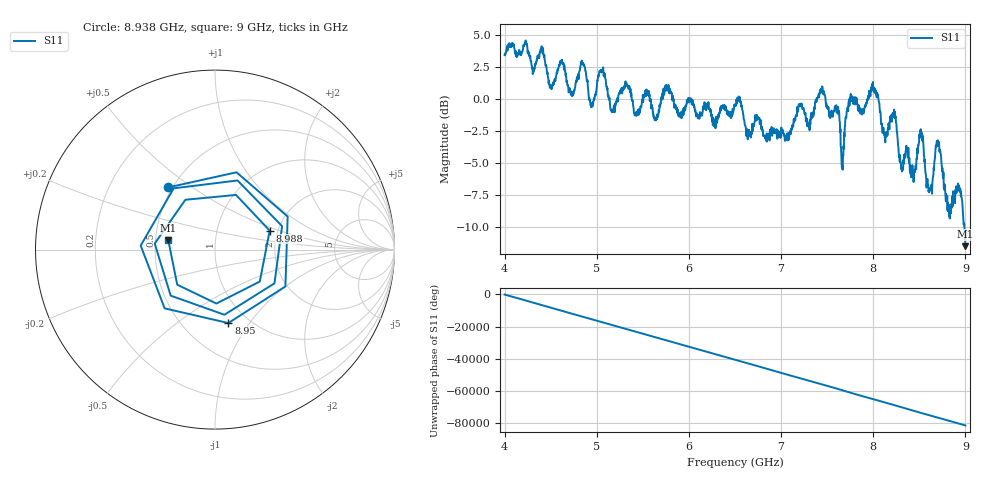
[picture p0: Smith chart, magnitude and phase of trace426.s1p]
! Created with skrf 1.8.0 (http://scikit-rf.org).
# Hz S RI R 50.0
!freq ReS11 ImS11
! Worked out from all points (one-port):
!   1601 points, 4 GHz to 9 GHz, reference 50 ohm
!   lowest |S11| = -11.5 dB at 9 GHz (marker M1), VSWR 1.72, Z = 29.2 + j3.29 ohm
!   |S11| at or under -10 dB: 8.989158 GHz to end of sweep
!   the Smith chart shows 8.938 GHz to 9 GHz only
!   S11 on the Smith chart (normalised r, x): 8.938 GHz: 0.47, +0.40; 8.95 GHz: 0.81, -0.80; 8.988 GHz: 1.81, +0.43; 9 GHz: 0.58, +0.07
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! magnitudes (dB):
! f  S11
! 4 GHz  3.4
! 4.406 GHz  4.0
! 4.509 GHz  0.8
! 4.625 GHz  2.8
! 4.719 GHz  0.3
! 4.847 GHz  2.8
! 4.941 GHz  -0.7
! 5.047 GHz  2.1
! 5.169 GHz  -0.9
! 5.25 GHz  0.6
! 5.875 GHz  -1.1
! 6.5 GHz  -0.5
! 7.125 GHz  -2.1
! 7.447 GHz  1.0
! 7.609 GHz  -0.7
! 7.666 GHz  -5.2
! 7.75 GHz  0.1
! 8.003 GHz  0.8
! 8.375 GHz  -4.4
! 8.438 GHz  -6.5
! 8.522 GHz  -2.6
! 8.616 GHz  -7.1
! 8.703 GHz  -3.2
! 8.809 GHz  -8.1
! 8.938 GHz  -7.3
! 8.95 GHz  -7.6
! 8.988 GHz  -9.8
! 9 GHz  -11.5
